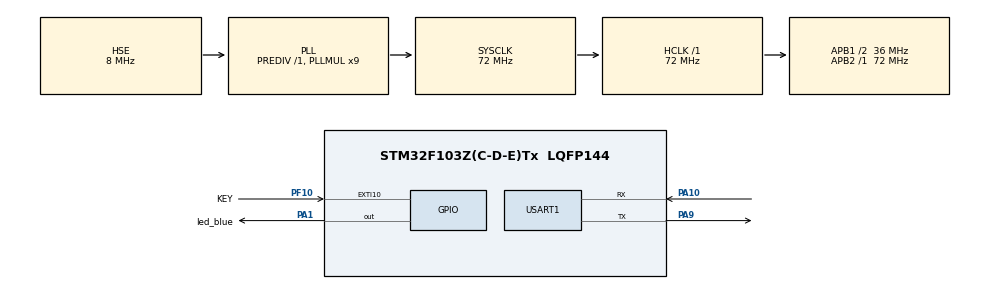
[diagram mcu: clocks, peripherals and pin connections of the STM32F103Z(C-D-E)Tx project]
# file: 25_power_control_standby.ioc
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Mcu.Family=STM32F1
Mcu.Name=STM32F103Z(C-D-E)Tx
Mcu.Package=LQFP144
NVIC.EXTI15_10_IRQn=true\:0\:0\:false\:false\:true\:true\:true\:true
NVIC.PriorityGroup=NVIC_PRIORITYGROUP_4
NVIC.USART1_IRQn=true\:0\:0\:false\:false\:true\:true\:true\:true
OSC_IN.Mode=HSE-External-Oscillator
OSC_IN.Signal=RCC_OSC_IN
OSC_OUT.Mode=HSE-External-Oscillator
OSC_OUT.Signal=RCC_OSC_OUT
PA0-WKUP.Mode=SYS_WakeUp0
PA0-WKUP.Signal=SYS_WKUP
PA1.GPIO_Label=led_blue
PA1.PinState=GPIO_PIN_SET
PA1.Signal=GPIO_Output
PA10.Mode=Asynchronous
PA10.Signal=USART1_RX
PA13.Mode=Serial_Wire
PA13.Signal=SYS_JTMS-SWDIO
PA14.Mode=Serial_Wire
PA14.Signal=SYS_JTCK-SWCLK
PA9.Mode=Asynchronous
PA9.Signal=USART1_TX
PC14-OSC32_IN.Mode=LSE-External-Oscillator
PC14-OSC32_IN.Signal=RCC_OSC32_IN
PC15-OSC32_OUT.Mode=LSE-External-Oscillator
PC15-OSC32_OUT.Signal=RCC_OSC32_OUT
PF10.GPIO_Label=KEY
PF10.GPIO_PuPd=GPIO_PULLDOWN
PF10.Signal=GPXTI10
ProjectManager.HeapSize=0x200
ProjectManager.StackSize=0x400
ProjectManager.TargetToolchain=CMake
RCC.AHBFreq_Value=72000000
RCC.APB1CLKDivider=RCC_HCLK_DIV2
RCC.APB1Freq_Value=36000000
RCC.APB1TimFreq_Value=72000000
RCC.APB2Freq_Value=72000000
RCC.APB2TimFreq_Value=72000000
RCC.HCLKFreq_Value=72000000
RCC.PLLMUL=RCC_PLL_MUL9
RCC.PLLSourceVirtual=RCC_PLLSOURCE_HSE
RCC.SYSCLKFreq_VALUE=72000000
RCC.SYSCLKSource=RCC_SYSCLKSOURCE_PLLCLK
RCC.USBFreq_Value=72000000
USART1.VirtualMode=VM_ASYNC
board=custom

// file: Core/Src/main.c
/* USER CODE BEGIN Header */
/**
  ******************************************************************************
  * @file           : main.c
  * @brief          : Main program body
  ******************************************************************************
  * @attention
  *
  * Copyright (c) 2026 STMicroelectronics.
  * All rights reserved.
  *
  * This software is licensed under terms that can be found in the LICENSE file
  * in the root directory of this software component.
  * If no LICENSE file comes with this software, it is provided AS-IS.
  *
  ******************************************************************************
  */
/* USER CODE END Header */
#include "main.h"

#include <stdio.h>

#include "usart.h"
#include "gpio.h"

void SystemClock_Config(void);

/* USER CODE BEGIN 0 */
void do_work(void)
{
  for (int i = 0; i < 50; i++)
  {
    HAL_GPIO_TogglePin(led_blue_GPIO_Port, led_blue_Pin);
    HAL_Delay(500);
  }
}

/* USER CODE END 0 */

int main(void)
{

  /* MCU Configuration--------------------------------------------------------*/

  /* Reset of all peripherals, Initializes the Flash interface and the Systick. */
  HAL_Init();

  /* Configure the system clock */
  SystemClock_Config();

  /* Initialize all configured peripherals */
  MX_GPIO_Init();
  MX_USART1_UART_Init();
  /* USER CODE BEGIN 2 */

  printf("待机测试... \r\n");

  // 获取标志位
  if (__HAL_PWR_GET_FLAG(PWR_FLAG_SB))
  {
    // 唤醒
    printf("唤醒状态 PWR_FLAG_SB ... \r\n");

    // 清除标志位
    __HAL_PWR_CLEAR_FLAG(PWR_FLAG_SB);

    printf("标志位清除 PWR_FLAG_SB ... \r\n");
  }

  if (__HAL_PWR_GET_FLAG(PWR_FLAG_WU))
  {
    // 唤醒
    printf("唤醒状态 PWR_FLAG_WU ... \r\n");

    // 清除标志位
    __HAL_PWR_CLEAR_FLAG(PWR_FLAG_WU);

    printf("标志位清除 PWR_FLAG_WU ... \r\n");
  }

  // 亮灯
  HAL_GPIO_WritePin(led_blue_GPIO_Port, led_blue_Pin, GPIO_PIN_RESET);

  // 维持3秒
  HAL_Delay(3000);

  /* USER CODE END 2 */

  /* Infinite loop */
  /* USER CODE BEGIN WHILE */
  while (1)
  {
    printf("进入待机... \r\n");

    // 先要开启PA0的唤醒使能
    HAL_PWR_EnableWakeUpPin(PWR_WAKEUP_PIN1);

    // 进入待机模式
    HAL_PWR_EnterSTANDBYMode();

    printf("继续运行... \r\n");

    // 灯亮
    do_work();
    HAL_Delay(1000);

    /* USER CODE END WHILE */

  }
}

void SystemClock_Config(void)
{
  RCC_OscInitTypeDef RCC_OscInitStruct = {0};
  RCC_ClkInitTypeDef RCC_ClkInitStruct = {0};

  /** Initializes the RCC Oscillators according to the specified parameters
  * in the RCC_OscInitTypeDef structure.
  */
  RCC_OscInitStruct.OscillatorType = RCC_OSCILLATORTYPE_HSE;
  RCC_OscInitStruct.HSEState = RCC_HSE_ON;
  RCC_OscInitStruct.HSEPredivValue = RCC_HSE_PREDIV_DIV1;
  RCC_OscInitStruct.HSIState = RCC_HSI_ON;
  RCC_OscInitStruct.PLL.PLLState = RCC_PLL_ON;
  RCC_OscInitStruct.PLL.PLLSource = RCC_PLLSOURCE_HSE;
  RCC_OscInitStruct.PLL.PLLMUL = RCC_PLL_MUL9;
  if (HAL_RCC_OscConfig(&RCC_OscInitStruct) != HAL_OK)
  {
    Error_Handler();
  }

  /** Initializes the CPU, AHB and APB buses clocks
  */
  RCC_ClkInitStruct.ClockType = RCC_CLOCKTYPE_HCLK | RCC_CLOCKTYPE_SYSCLK
    | RCC_CLOCKTYPE_PCLK1 | RCC_CLOCKTYPE_PCLK2;
  RCC_ClkInitStruct.SYSCLKSource = RCC_SYSCLKSOURCE_PLLCLK;
  RCC_ClkInitStruct.AHBCLKDivider = RCC_SYSCLK_DIV1;
  RCC_ClkInitStruct.APB1CLKDivider = RCC_HCLK_DIV2;
  RCC_ClkInitStruct.APB2CLKDivider = RCC_HCLK_DIV1;

  if (HAL_RCC_ClockConfig(&RCC_ClkInitStruct, FLASH_LATENCY_2) != HAL_OK)
  {
    Error_Handler();
  }
}

void Error_Handler(void)
{
  __disable_irq();
  while (1)
  {
  }
}
